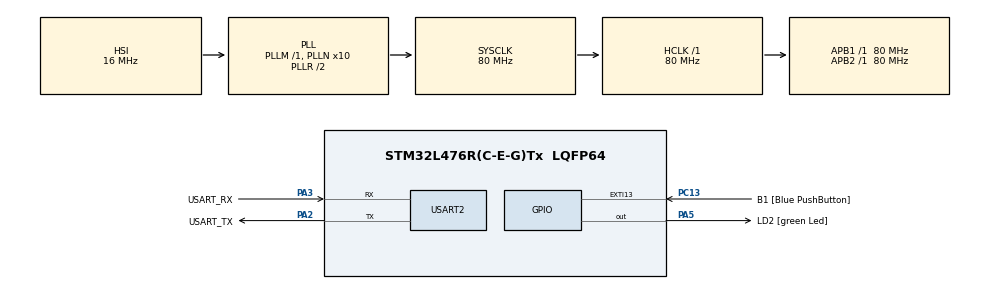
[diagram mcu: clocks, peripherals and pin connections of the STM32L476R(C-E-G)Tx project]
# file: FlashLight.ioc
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Mcu.Family=STM32L4
Mcu.Name=STM32L476R(C-E-G)Tx
Mcu.Package=LQFP64
NVIC.EXTI15_10_IRQn=true\:0\:0\:false\:false\:true\:true\:true\:true
NVIC.PriorityGroup=NVIC_PRIORITYGROUP_4
NVIC.TIM6_DAC_IRQn=true\:0\:0\:false\:false\:true\:true\:true\:true
PA13\ (JTMS-SWDIO).GPIO_Label=TMS
PA13\ (JTMS-SWDIO).Mode=Serial_Wire
PA13\ (JTMS-SWDIO).Signal=SYS_JTMS-SWDIO
PA14\ (JTCK-SWCLK).GPIO_Label=TCK
PA14\ (JTCK-SWCLK).Mode=Serial_Wire
PA14\ (JTCK-SWCLK).Signal=SYS_JTCK-SWCLK
PA2.GPIO_Label=USART_TX
PA2.GPIO_Mode=GPIO_MODE_AF_PP
PA2.GPIO_PuPd=GPIO_NOPULL
PA2.GPIO_Speed=GPIO_SPEED_FREQ_VERY_HIGH
PA2.Mode=Asynchronous
PA2.Signal=USART2_TX
PA3.GPIO_Label=USART_RX
PA3.GPIO_Mode=GPIO_MODE_AF_PP
PA3.GPIO_PuPd=GPIO_NOPULL
PA3.GPIO_Speed=GPIO_SPEED_FREQ_VERY_HIGH
PA3.Mode=Asynchronous
PA3.Signal=USART2_RX
PA5.GPIO_Label=LD2 [green Led]
PA5.GPIO_ModeDefaultOutputPP=GPIO_MODE_OUTPUT_PP
PA5.GPIO_PuPd=GPIO_NOPULL
PA5.GPIO_Speed=GPIO_SPEED_FREQ_LOW
PA5.Signal=GPIO_Output
PB3\ (JTDO-TRACESWO).GPIO_Label=SWO
PB3\ (JTDO-TRACESWO).Signal=SYS_JTDO-SWO
PC13.GPIO_Label=B1 [Blue PushButton]
PC13.GPIO_ModeDefaultEXTI=GPIO_MODE_IT_FALLING
PC13.GPIO_PuPd=GPIO_NOPULL
PC13.Signal=GPXTI13
PC14-OSC32_IN\ (PC14).Mode=LSE-External-Oscillator
PC14-OSC32_IN\ (PC14).Signal=RCC_OSC32_IN
PC15-OSC32_OUT\ (PC15).Mode=LSE-External-Oscillator
PC15-OSC32_OUT\ (PC15).Signal=RCC_OSC32_OUT
PH0-OSC_IN\ (PH0).Signal=RCC_OSC_IN
PH1-OSC_OUT\ (PH1).Signal=RCC_OSC_OUT
ProjectManager.HeapSize=0x200
ProjectManager.StackSize=0x400
ProjectManager.TargetToolchain=STM32CubeIDE
RCC.ADCFreq_Value=64000000
RCC.AHBFreq_Value=80000000
RCC.APB1Freq_Value=80000000
RCC.APB1TimFreq_Value=80000000
RCC.APB2Freq_Value=80000000
RCC.APB2TimFreq_Value=80000000
RCC.CortexFreq_Value=80000000
RCC.HCLKFreq_Value=80000000
RCC.HSE_VALUE=8000000
RCC.HSI_VALUE=16000000
RCC.MSI_VALUE=4000000
RCC.PLLN=10
RCC.PLLSourceVirtual=RCC_PLLSOURCE_HSI
RCC.PREFETCH_ENABLE=1
RCC.SYSCLKFreq_VALUE=80000000
RCC.SYSCLKSource=RCC_SYSCLKSOURCE_PLLCLK
RCC.USBFreq_Value=64000000
RCC.VCOOutputFreq_Value=160000000
TIM6.Period=9999
TIM6.Prescaler=1599
USART2.VirtualMode-Asynchronous=VM_ASYNC
VP_TIM6_VS_ClockSourceINT.Mode=Enable_Timer
board=NUCLEO-L476RG

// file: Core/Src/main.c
/* USER CODE BEGIN Header */
/**
  ******************************************************************************
  * @file           : main.c
  * @brief          : Main program body
  ******************************************************************************
  * @attention
  *
  * Copyright (c) 2022 STMicroelectronics.
  * All rights reserved.
  *
  * This software is licensed under terms that can be found in the LICENSE file
  * in the root directory of this software component.
  * If no LICENSE file comes with this software, it is provided AS-IS.
  *
  ******************************************************************************
  */
/* USER CODE END Header */
#include "main.h"
/* USER CODE BEGIN Includes */
#include "FlashLightStateMachine.h"
#include "stateMachine.h"
#include <stdio.h>
#include <string.h>
#include <stdlib.h>
/* USER CODE END Includes */

 TIM_HandleTypeDef htim6;

UART_HandleTypeDef huart2;

void SystemClock_Config(void);
static void MX_GPIO_Init(void);
static void MX_USART2_UART_Init(void);
static void MX_TIM6_Init(void);
/* USER CODE BEGIN PFP */
#define PUTCHAR_PROTOTYPE int __io_putchar(int ch)
/* USER CODE END PFP */

/* USER CODE BEGIN 0 */

#define MAX_BUFFER_LENGTH 100
uint8_t isBrightness = 0;
uint8_t brightnessCounter = 0;
uint8_t cmdbuffer[MAX_BUFFER_LENGTH];
int cmdcount = 0;
extern int currBrightness;

int commTask()
{
	uint8_t ch;

	HAL_StatusTypeDef Status = HAL_UART_Receive(&huart2, &ch, 1, 0);
	if (Status != HAL_OK) {
		return 0;
	}

	if (ch != '\r' && ch != '\n')
	{
		HAL_UART_Transmit(&huart2, &ch, 1, 0xFFFF);

		if (cmdcount >= MAX_BUFFER_LENGTH)
		{
			cmdcount = 0;
		}

		cmdbuffer[cmdcount++] = ch;
		return 0;
	}

	HAL_UART_Transmit(&huart2, (uint8_t*)"\r\n", 2, 0xFFFF);

	cmdbuffer[cmdcount] = 0;
	cmdcount = 0;
	return 1;
}

void handleCommand()
{
  char delim[2] = " ";
  char* res = strtok(cmdbuffer, delim);

  if(res == NULL)
  {
	  return;
  }

  while(res != NULL)
  {
	  if (strcmp(res, "full") == 0)
	  {
		  isBrightness = 0;
		  while(res != NULL)
		  {
				  stateOn();
				  return;
		  }
	  }
	  else if (strcmp(res, "off") == 0)
	  {
		  isBrightness = 0;
		  stateOff();
		  return;
	  }
	  else if (strcmp(res, "half") == 0)
	  {
		  isBrightness = 0;
		  stateHalfBrightness();
		  return;
	  }

	  else if (strcmp(res, "blink") == 0)
	  {
		  isBrightness = 0;
		  stateBlink();
		  return;
	  }
	  if (strcmp(res, "set") == 0)
	  {
		  isBrightness = 1;
		  while(res != NULL)
		  {
			  res = strtok(NULL, delim);
			  int count = atoi(res);
			  {
				  setBrightness(count);
				  //ledStart(maxCount);
				  return;
			  }
		  }
	  }
  }

  printf("Invalid command\r\n");

}

int isPush = 0;
uint32_t timeIn = 0;
uint32_t timeOut = 0;
#define HALF_SECOND 500
void HAL_GPIO_EXTI_Callback(uint16_t GPIO_Pin)
{
	uint32_t diff = 0;
	if(HAL_GPIO_ReadPin(B1_GPIO_Port, B1_Pin) == 0)
	{
		timeIn = HAL_GetTick();
	}
	else
	{
		timeOut = HAL_GetTick();

		diff = (timeOut - timeIn);
		if (diff > HALF_SECOND)
		{
			;
		}
		else
		{
			;
		}
	}

	FlashLightState lightState = changeState();
	switch(lightState)
	{
		case STATE_OFF:
			stateOff();
		break;

		case STATE_ON:
			stateOn();
		break;

		case STATE_BLINK:
			stateBlink();
			break;
		case STATE_HALF_BRIGHTNESS:
			stateHalfBrightness();
			break;
//		case STATE_BRIGHTNESS:
//			break;
		default:
			stateOff();
			//HAL_GPIO_WritePin(LD2_GPIO_Port, LD2_Pin, GPIO_PIN_RESET);
		break;
	}
}

void HAL_TIM_PeriodElapsedCallback(TIM_HandleTypeDef * htim)
{
	if(!isBrightness)
	{
		HAL_GPIO_TogglePin(LD2_GPIO_Port, LD2_Pin);
	}
	else
	{
		if (brightnessCounter == 0)
		{
			HAL_GPIO_WritePin(LD2_GPIO_Port, LD2_Pin, GPIO_PIN_SET);

		}
		else if (brightnessCounter == currBrightness)
		{
			HAL_GPIO_WritePin(LD2_GPIO_Port, LD2_Pin, GPIO_PIN_RESET);
		}
		brightnessCounter++;
		if (brightnessCounter == 10)
		{
			brightnessCounter = 0;
		}
	}
}

/* USER CODE END 0 */

int main(void)
{

  /* MCU Configuration--------------------------------------------------------*/

  /* Reset of all peripherals, Initializes the Flash interface and the Systick. */
  HAL_Init();

  /* Configure the system clock */
  SystemClock_Config();

  /* Initialize all configured peripherals */
  MX_GPIO_Init();
  MX_USART2_UART_Init();
  MX_TIM6_Init();
  /* USER CODE BEGIN 2 */
  HAL_NVIC_EnableIRQ(TIM6_IRQn); // turn on interrupts

  //HAL_TIM_Base_Start_IT(&htim6); // start interrupt clock

  /* USER CODE END 2 */

  /* Infinite loop */
  /* USER CODE BEGIN WHILE */
//  isBrightness = 1;
//  setBrightness(8);
  while (1)
  {
    /* USER CODE END WHILE */

    /* USER CODE BEGIN 3 */
	  if (commTask())
	  {
		  handleCommand();
	  }

  }
  /* USER CODE END 3 */
}

void SystemClock_Config(void)
{
  RCC_OscInitTypeDef RCC_OscInitStruct = {0};
  RCC_ClkInitTypeDef RCC_ClkInitStruct = {0};

  /** Configure the main internal regulator output voltage
  */
  if (HAL_PWREx_ControlVoltageScaling(PWR_REGULATOR_VOLTAGE_SCALE1) != HAL_OK)
  {
    Error_Handler();
  }

  /** Initializes the RCC Oscillators according to the specified parameters
  * in the RCC_OscInitTypeDef structure.
  */
  RCC_OscInitStruct.OscillatorType = RCC_OSCILLATORTYPE_HSI;
  RCC_OscInitStruct.HSIState = RCC_HSI_ON;
  RCC_OscInitStruct.HSICalibrationValue = RCC_HSICALIBRATION_DEFAULT;
  RCC_OscInitStruct.PLL.PLLState = RCC_PLL_ON;
  RCC_OscInitStruct.PLL.PLLSource = RCC_PLLSOURCE_HSI;
  RCC_OscInitStruct.PLL.PLLM = 1;
  RCC_OscInitStruct.PLL.PLLN = 10;
  RCC_OscInitStruct.PLL.PLLP = RCC_PLLP_DIV7;
  RCC_OscInitStruct.PLL.PLLQ = RCC_PLLQ_DIV2;
  RCC_OscInitStruct.PLL.PLLR = RCC_PLLR_DIV2;
  if (HAL_RCC_OscConfig(&RCC_OscInitStruct) != HAL_OK)
  {
    Error_Handler();
  }

  /** Initializes the CPU, AHB and APB buses clocks
  */
  RCC_ClkInitStruct.ClockType = RCC_CLOCKTYPE_HCLK|RCC_CLOCKTYPE_SYSCLK
                              |RCC_CLOCKTYPE_PCLK1|RCC_CLOCKTYPE_PCLK2;
  RCC_ClkInitStruct.SYSCLKSource = RCC_SYSCLKSOURCE_PLLCLK;
  RCC_ClkInitStruct.AHBCLKDivider = RCC_SYSCLK_DIV1;
  RCC_ClkInitStruct.APB1CLKDivider = RCC_HCLK_DIV1;
  RCC_ClkInitStruct.APB2CLKDivider = RCC_HCLK_DIV1;

  if (HAL_RCC_ClockConfig(&RCC_ClkInitStruct, FLASH_LATENCY_4) != HAL_OK)
  {
    Error_Handler();
  }
}

static void MX_TIM6_Init(void)
{

  TIM_MasterConfigTypeDef sMasterConfig = {0};

  htim6.Instance = TIM6;
  htim6.Init.Prescaler = 1599;
  htim6.Init.CounterMode = TIM_COUNTERMODE_UP;
  htim6.Init.Period = 9999;
  htim6.Init.AutoReloadPreload = TIM_AUTORELOAD_PRELOAD_DISABLE;
  if (HAL_TIM_Base_Init(&htim6) != HAL_OK)
  {
    Error_Handler();
  }
  sMasterConfig.MasterOutputTrigger = TIM_TRGO_RESET;
  sMasterConfig.MasterSlaveMode = TIM_MASTERSLAVEMODE_DISABLE;
  if (HAL_TIMEx_MasterConfigSynchronization(&htim6, &sMasterConfig) != HAL_OK)
  {
    Error_Handler();
  }

}

static void MX_USART2_UART_Init(void)
{

  huart2.Instance = USART2;
  huart2.Init.BaudRate = 115200;
  huart2.Init.WordLength = UART_WORDLENGTH_8B;
  huart2.Init.StopBits = UART_STOPBITS_1;
  huart2.Init.Parity = UART_PARITY_NONE;
  huart2.Init.Mode = UART_MODE_TX_RX;
  huart2.Init.HwFlowCtl = UART_HWCONTROL_NONE;
  huart2.Init.OverSampling = UART_OVERSAMPLING_16;
  huart2.Init.OneBitSampling = UART_ONE_BIT_SAMPLE_DISABLE;
  huart2.AdvancedInit.AdvFeatureInit = UART_ADVFEATURE_NO_INIT;
  if (HAL_UART_Init(&huart2) != HAL_OK)
  {
    Error_Handler();
  }

}

static void MX_GPIO_Init(void)
{
  GPIO_InitTypeDef GPIO_InitStruct = {0};

  /* GPIO Ports Clock Enable */
  __HAL_RCC_GPIOC_CLK_ENABLE();
  __HAL_RCC_GPIOH_CLK_ENABLE();
  __HAL_RCC_GPIOA_CLK_ENABLE();
  __HAL_RCC_GPIOB_CLK_ENABLE();

  /*Configure GPIO pin Output Level */
  HAL_GPIO_WritePin(LD2_GPIO_Port, LD2_Pin, GPIO_PIN_RESET);

  /*Configure GPIO pin : B1_Pin */
  GPIO_InitStruct.Pin = B1_Pin;
  GPIO_InitStruct.Mode = GPIO_MODE_IT_FALLING;
  GPIO_InitStruct.Pull = GPIO_NOPULL;
  HAL_GPIO_Init(B1_GPIO_Port, &GPIO_InitStruct);

  /*Configure GPIO pin : LD2_Pin */
  GPIO_InitStruct.Pin = LD2_Pin;
  GPIO_InitStruct.Mode = GPIO_MODE_OUTPUT_PP;
  GPIO_InitStruct.Pull = GPIO_NOPULL;
  GPIO_InitStruct.Speed = GPIO_SPEED_FREQ_LOW;
  HAL_GPIO_Init(LD2_GPIO_Port, &GPIO_InitStruct);

  /* EXTI interrupt init*/
  HAL_NVIC_SetPriority(EXTI15_10_IRQn, 0, 0);
  HAL_NVIC_EnableIRQ(EXTI15_10_IRQn);

}

/* USER CODE BEGIN 4 */
PUTCHAR_PROTOTYPE
{
  /* Place your implementation of fputc here */
  /* e.g. write a character to the USART1 and Loop until the end of transmission */
  HAL_UART_Transmit(&huart2, (uint8_t *)&ch, 1, 0xFFFF);

  return ch;
}

/* USER CODE END 4 */

void Error_Handler(void)
{
  __disable_irq();
  while (1)
  {
  }
}
